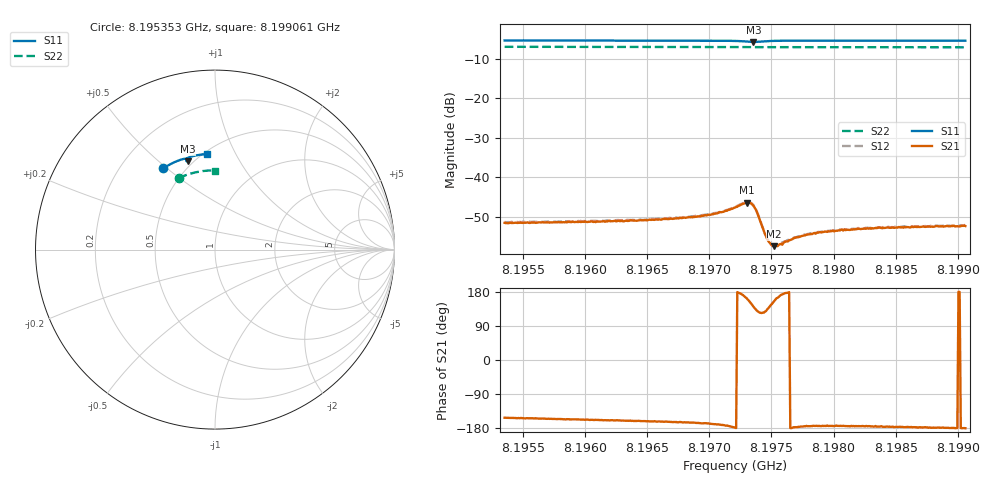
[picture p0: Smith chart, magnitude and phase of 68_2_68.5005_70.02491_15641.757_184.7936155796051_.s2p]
#  HZ  S  RI  R  50.00
! Rohde & Schwarz Vector Network Analyzer
! Rohde-Schwarz,ZNB20-2Port,1311601062101988,3.16
! Created: UTC 3/20/2024, 4:51:37 PM
! freq[Hz]  re:S11  im:S11  re:S21  im:S21  re:S12  im:S12  re:S22  im:S22
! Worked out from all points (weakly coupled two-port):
!   401 points, 8.195353 GHz to 8.199061 GHz, reference 50 ohm
!   highest |S21| = -46.34 dB at 8.1973 GHz (marker M1); lowest = -57.4 dB at 8.197522 GHz (marker M2)
!   lowest |S11| = -5.8 dB at 8.197355 GHz (marker M3), VSWR 3.12, Z = 23.4 + j31.3 ohm
!   |S11| at or under -10 dB: nowhere
!   |S22| runs from -7.1 to -7.0 dB; largest |S21 - S12| = 0.00027
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8.1953534e9  -0.287 0.4549  -0.00237 -0.00124  -0.00247 -0.00115  -0.2025 0.3982
8.1959744e9  -0.2482 0.4765  -0.00253 -0.00107  -0.00262 -0.000987  -0.1707 0.4118
8.1965954e9  -0.2073 0.4948  -0.0028 -0.000903  -0.00292 -0.000814  -0.1377 0.4231
8.1967622e9  -0.1958 0.4991  -0.00295 -0.00087  -0.00304 -0.000711  -0.1288 0.4257
8.1969939e9  -0.1783 0.5044  -0.00329 -0.00075  -0.00339 -0.000587  -0.1161 0.4289
8.1971144e9  -0.1682 0.5064  -0.00364 -0.000534  -0.00374 -0.000385  -0.1095 0.4304
8.1972071e9  -0.159 0.5062  -0.00416 -0.000112  -0.00422 6.91e-05  -0.1042 0.4312
8.1972998e9  -0.1496 0.4991  -0.00462 0.00138  -0.00461 0.00163  -0.0991 0.4322
8.1973276e9  -0.1497 0.4948  -0.00424 0.00219  -0.00422 0.00243  -0.0977 0.4323
8.1973554e9  -0.1528 0.4915  -0.00339 0.00277  -0.00334 0.00299  -0.0962 0.4326
8.1973739e9  -0.156 0.4913  -0.0027 0.00287  -0.00262 0.003  -0.0953 0.4327
8.1973925e9  -0.1587 0.4927  -0.00204 0.00264  -0.00198 0.0028  -0.0943 0.433
8.1974388e9  -0.161 0.4993  -0.00121 0.00174  -0.0012 0.00181  -0.0919 0.4336
8.1974666e9  -0.1598 0.503  -0.00115 0.0012  -0.0011 0.00129  -0.0904 0.4339
8.1974944e9  -0.1578 0.5059  -0.00118 0.000837  -0.00113 0.000865  -0.0889 0.4343
8.1975222e9  -0.1556 0.5081  -0.00123 0.000566  -0.00123 0.000613  -0.0873 0.4345
8.1975686e9  -0.1515 0.5109  -0.00141 0.000273  -0.0014 0.00035  -0.0848 0.4351
8.1976983e9  -0.1406 0.5158  -0.00175 -8.64e-05  -0.00174 -3.33e-05  -0.0773 0.4361
8.1978281e9  -0.1308 0.519  -0.00192 -0.000185  -0.00199 -0.000108  -0.0702 0.4372
8.1980691e9  -0.113 0.5232  -0.00218 -0.000227  -0.00219 -0.000131  -0.0565 0.4389
8.1984491e9  -0.0857 0.5281  -0.00231 -0.000175  -0.00236 -9.1e-05  -0.0353 0.4403
8.1990608e9  -0.0421 0.5328  -0.00243 -1.48e-07  -0.00252 0.000148  -0.000682 0.4407
